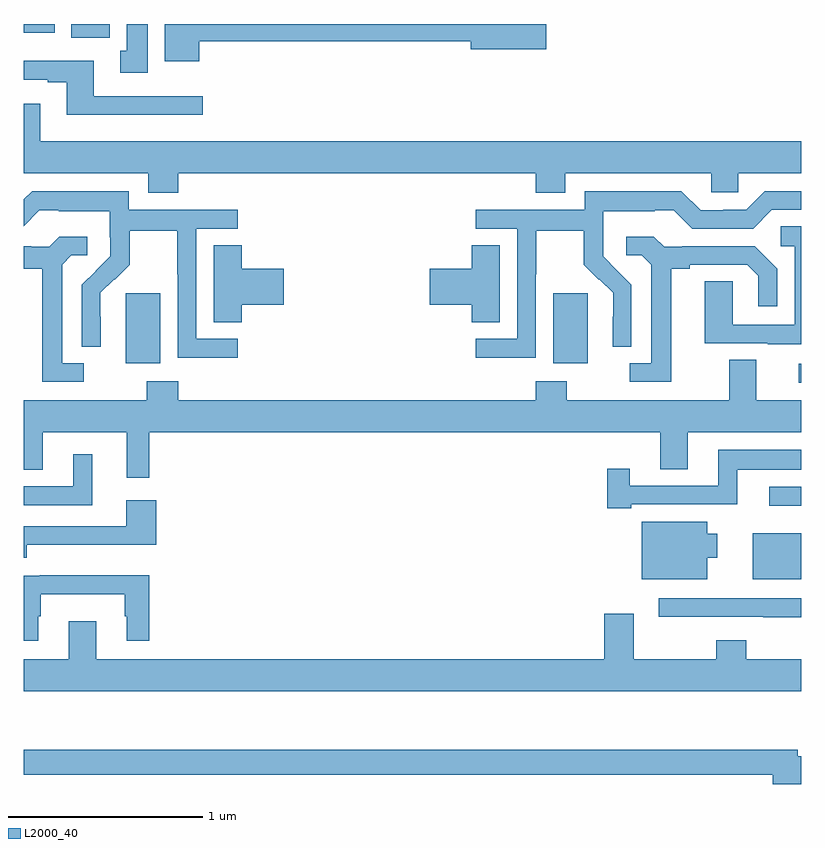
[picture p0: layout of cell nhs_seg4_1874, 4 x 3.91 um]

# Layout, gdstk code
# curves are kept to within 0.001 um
import gdstk
lib = gdstk.Library(unit=1e-6, precision=1e-09)
def R(c, l, rs):  # rectangles x0, y0, x1, y1
    for r in rs: c.add(gdstk.rectangle(r[:2], r[2:], *l))
def P(c, l, *ps):  # polygons
    for p in ps: c.add(gdstk.Polygon(p, *l))
L2000_40 = (2000, 40)

nhs_seg4_1874 = lib.new_cell('nhs_seg4_1874')
R(nhs_seg4_1874, L2000_40, [(210.749,816.044,211,816.28), (210.834,816.422,211,816.519), (210.987,817.056,211,817.152), (207.524,817.154,207.703,817.515), (209.723,817.154,209.902,817.515), (207.245,818.828,207.442,818.9), (207,818.856,207.16,818.9)])
P(nhs_seg4_1874, L2000_40, [(207.904,818.812),(209.3,818.812),(209.3,818.77),(209.689,818.77),(209.689,818.9),(207.725,818.9),(207.725,818.708),(207.904,818.708)],
  [(207.637,818.9),(207.53,818.9),(207.53,818.762),(207.497,818.762),(207.497,818.649),(207.637,818.649)],
  [(207.922,818.529),(207.361,818.529),(207.361,818.71),(207,818.71),(207,818.613),(207.125,818.613),(207.125,818.601),(207.221,818.601),(207.221,818.432),(207.922,818.432)],
  [(207.794,818.132),(209.633,818.132),(209.633,818.033),(209.785,818.033),(209.785,818.132),(210.537,818.132),(210.537,818.034),(210.675,818.034),(210.675,818.132),(211,818.132),(211,818.296),(207.085,818.296),(207.085,818.491),(207,818.491),(207,818.132),(207.641,818.132),(207.641,818.033),(207.794,818.033)],
  [(209.634,817.612),(209.637,817.612),(209.637,817.836),(209.881,817.836),(209.881,817.661),(209.958,817.584),(209.961,817.587),(210.032,817.517),(210.032,817.394),(210.03,817.394),(210.03,817.24),(210.126,817.24),(210.126,817.558),(209.98,817.706),(209.98,817.803),(209.982,817.803),(209.982,817.937),(210.245,817.937),(210.245,817.941),(210.345,817.941),(210.438,817.848),(210.753,817.848),(210.849,817.944),(211,817.944),(211,818.04),(210.813,818.04),(210.717,817.944),(210.599,817.944),(210.599,817.941),(210.483,817.941),(210.383,818.041),(209.886,818.041),(209.886,817.944),(209.325,817.944),(209.325,817.848),(209.538,817.848),(209.538,817.281),(209.325,817.281),(209.325,817.183),(209.634,817.183)],
  [(208.102,817.281),(207.888,817.281),(207.888,817.848),(208.102,817.848),(208.102,817.944),(207.54,817.944),(207.54,818.041),(207.043,818.041),(207,817.998),(207,817.86),(207.081,817.941),(207.181,817.941),(207.181,817.937),(207.444,817.937),(207.444,817.803),(207.446,817.803),(207.446,817.706),(207.3,817.558),(207.3,817.24),(207.396,817.24),(207.395,817.517),(207.465,817.587),(207.468,817.584),(207.545,817.661),(207.545,817.836),(207.79,817.836),(207.79,817.612),(207.792,817.612),(207.792,817.183),(208.102,817.183)],
  [(211,817.859),(210.894,817.859),(210.894,817.758),(210.966,817.758),(210.966,817.353),(210.648,817.353),(210.648,817.577),(210.503,817.577),(210.503,817.257),(210.827,817.257),(210.827,817.253),(211,817.253)],
  [(210.331,817.64),(210.427,817.64),(210.427,817.662),(210.722,817.662),(210.779,817.605),(210.779,817.449),(210.876,817.449),(210.876,817.642),(210.76,817.758),(210.388,817.758),(210.388,817.755),(210.294,817.755),(210.242,817.807),(210.099,817.807),(210.099,817.71),(210.18,817.71),(210.227,817.663),(210.227,817.155),(210.117,817.155),(210.117,817.059),(210.331,817.059)],
  [(207.31,817.155),(207.199,817.155),(207.199,817.663),(207.246,817.71),(207.328,817.71),(207.328,817.807),(207.184,817.807),(207.132,817.755),(207.038,817.755),(207.038,817.758),(207,817.758),(207,817.64),(207.095,817.64),(207.095,817.059),(207.31,817.059)],
  [(208.121,817.457),(208.339,817.457),(208.339,817.64),(208.121,817.64),(208.121,817.763),(207.977,817.763),(207.977,817.366),(208.121,817.366)],
  [(209.449,817.763),(209.306,817.763),(209.306,817.64),(209.088,817.64),(209.088,817.457),(209.306,817.457),(209.306,817.366),(209.449,817.366)],
  [(207.647,816.8),(210.275,816.8),(210.275,816.61),(210.415,816.61),(210.415,816.8),(211,816.8),(211,816.964),(210.769,816.964),(210.769,817.172),(210.629,817.172),(210.629,816.964),(209.793,816.964),(209.793,817.063),(209.633,817.063),(209.633,816.964),(207.794,816.964),(207.794,817.063),(207.634,817.063),(207.634,816.964),(207,816.964),(207,816.607),(207.097,816.607),(207.097,816.8),(207.53,816.8),(207.53,816.567),(207.647,816.567)],
  [(210.124,816.429),(210.67,816.429),(210.67,816.608),(211,816.608),(211,816.709),(210.572,816.709),(210.572,816.525),(210.118,816.525),(210.118,816.613),(210.001,816.613),(210.001,816.409),(210.124,816.409)],
  [(207.353,816.688),(207.254,816.688),(207.254,816.522),(207,816.522),(207,816.426),(207.353,816.426)],
  [(207.016,816.221),(207.683,816.221),(207.683,816.451),(207.527,816.451),(207.527,816.318),(207,816.318),(207,816.155),(207.016,816.155)],
  [(210.517,816.155),(210.568,816.155),(210.568,816.277),(210.517,816.277),(210.517,816.34),(210.179,816.34),(210.179,816.044),(210.517,816.044)],
  [(207.076,815.855),(207.088,815.855),(207.088,815.966),(207.519,815.966),(207.519,815.855),(207.53,815.855),(207.53,815.727),(207.647,815.727),(207.647,816.064),(207.082,816.064),(207.082,816.063),(207,816.063),(207,815.727),(207.076,815.727)],
  [(211,815.946),(210.267,815.946),(210.267,815.85),(210.805,815.85),(210.805,815.849),(211,815.849)],
  [(211,815.632),(210.717,815.632),(210.717,815.731),(210.562,815.731),(210.562,815.632),(210.139,815.632),(210.139,815.866),(209.987,815.866),(209.987,815.632),(207.373,815.632),(207.373,815.827),(207.233,815.827),(207.233,815.632),(207,815.632),(207,815.468),(211,815.468)],
  [(211,815.133),(210.982,815.133),(210.982,815.167),(207,815.167),(207,815.038),(210.854,815.038),(210.854,814.991),(211,814.991)])

lib.write_gds('nhs_seg4_1874.gds')
